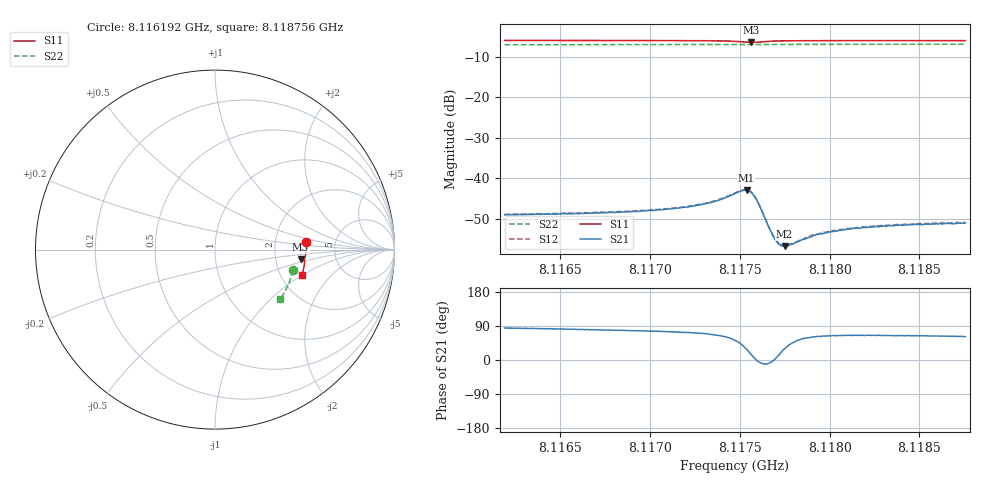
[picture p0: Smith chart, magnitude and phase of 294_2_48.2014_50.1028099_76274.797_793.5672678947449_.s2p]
#  HZ  S  RI  R  50.00
! Rohde & Schwarz Vector Network Analyzer
! Rohde-Schwarz,ZNB20-2Port,1311601062101988,3.16
! Created: UTC 3/20/2024, 11:49:12 AM
! freq[Hz]  re:S11  im:S11  re:S21  im:S21  re:S12  im:S12  re:S22  im:S22
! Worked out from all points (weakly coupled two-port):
!   401 points, 8.116192 GHz to 8.118756 GHz, reference 50 ohm
!   highest |S21| = -42.95 dB at 8.117538 GHz (marker M1); lowest = -56.8 dB at 8.117749 GHz (marker M2)
!   lowest |S11| = -6.4 dB at 8.117564 GHz (marker M3), VSWR 2.84, Z = 139 - j19.3 ohm
!   |S11| at or under -10 dB: nowhere
!   |S22| runs from -7.0 to -6.8 dB; largest |S21 - S12| = 0.00018
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8.1161921e9  0.5052 0.044  0.000331 0.00351  0.000381 0.00357  0.4342 -0.1146
8.1166215e9  0.5064 0.0114  0.000598 0.00364  0.000657 0.00368  0.4266 -0.1435
8.1170509e9  0.505 -0.0221  0.000991 0.00394  0.00109 0.004  0.4173 -0.1719
8.1171919e9  0.5038 -0.0338  0.00128 0.0042  0.00134 0.00423  0.4138 -0.1812
8.1173008e9  0.5017 -0.0434  0.00165 0.00449  0.00174 0.00455  0.4108 -0.1883
8.1173841e9  0.4989 -0.0517  0.00232 0.00485  0.0024 0.00494  0.4086 -0.1937
8.1174739e9  0.4906 -0.0606  0.00398 0.00509  0.00409 0.00514  0.4055 -0.1994
8.1175123e9  0.4839 -0.0617  0.00536 0.00454  0.00549 0.00456  0.4043 -0.2017
8.1175379e9  0.4789 -0.0591  0.00625 0.00342  0.00638 0.00344  0.4034 -0.2032
8.1175636e9  0.4765 -0.0534  0.00644 0.0017  0.00661 0.00167  0.4026 -0.2044
8.1175828e9  0.4779 -0.0488  0.00589 0.000475  0.00605 0.000444  0.4021 -0.2053
8.117602e9  0.4816 -0.0459  0.00499 -0.000328  0.00505 -0.000353  0.4019 -0.2064
8.1176661e9  0.4932 -0.0487  0.00235 -0.000325  0.00237 -0.000352  0.4004 -0.2105
8.1176917e9  0.4955 -0.0519  0.00183 -1.62e-06  0.00187 2.56e-05  0.3997 -0.2123
8.1177238e9  0.4972 -0.0558  0.00146 0.000421  0.00145 0.000452  0.399 -0.2144
8.1177494e9  0.4981 -0.0588  0.00126 0.000707  0.00129 0.000758  0.3984 -0.216
8.1177815e9  0.4985 -0.0624  0.00113 0.00101  0.00115 0.00101  0.3972 -0.2182
8.1179032e9  0.4986 -0.0741  0.000948 0.00166  0.000996 0.00174  0.3934 -0.2259
8.1180058e9  0.4976 -0.083  0.000955 0.00194  0.001 0.00196  0.39 -0.2321
8.1181339e9  0.496 -0.0933  0.00102 0.00216  0.00104 0.0022  0.3856 -0.24
8.1183326e9  0.4929 -0.1086  0.00112 0.00235  0.00114 0.00235  0.3786 -0.2521
8.1187556e9  0.4848 -0.1397  0.00133 0.00247  0.00135 0.0025  0.3623 -0.2769
